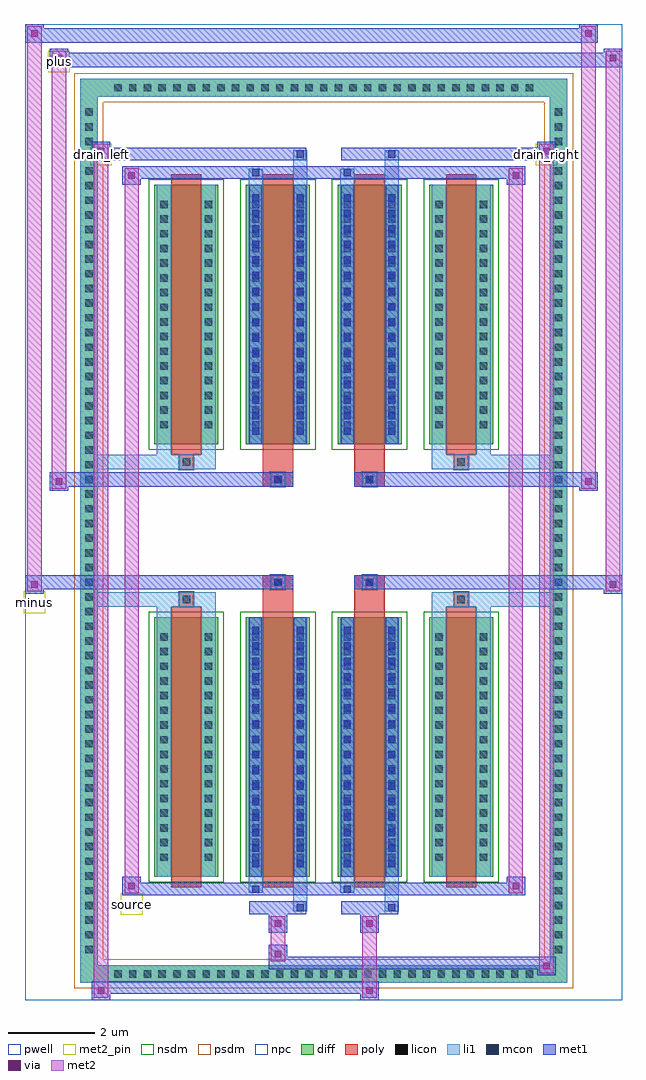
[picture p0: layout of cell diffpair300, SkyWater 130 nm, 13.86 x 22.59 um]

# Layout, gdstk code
import gdstk
lib = gdstk.Library(unit=1e-6, precision=5e-09)
def R(c, l, rs):  # rectangles x0, y0, x1, y1
    for r in rs: c.add(gdstk.rectangle(r[:2], r[2:], *l))
def A(c, l, x, y, w, h, nx, ny, dx, dy):  # array of equal rectangles
    R(c, l, [(x+i*dx, y+j*dy, x+i*dx+w, y+j*dy+h) for i in range(nx) for j in range(ny)])
def P(c, l, *ps):  # polygons
    for p in ps: c.add(gdstk.Polygon(p, *l))
pwell = (64, 44)
diff = (65, 20)
poly = (66, 20)
licon = (66, 44)
li1 = (67, 20)
mcon = (67, 44)
met1 = (68, 20)
via = (68, 44)
met2_pin = (69, 16)
met2 = (69, 20)
nsdm = (93, 44)
psdm = (94, 20)
npc = (95, 20)

diffpair300 = lib.new_cell('diffpair300')
R(diffpair300, pwell, [(-6.91,-10.86,6.91,11.73), (-4.23,-9.05,-0.01,-0.825), (0.01,-9.05,4.23,-0.825), (-4.23,0.825,-0.01,9.05), (0.01,0.825,4.23,9.05)])
A(diffpair300, diff, -4.965, -10.46, 0.41, 0.41, 29, 2, 0.34, 20.51)
A(diffpair300, diff, -5.64, -9.895, 0.41, 0.41, 1, 58, 0, 0.34)
A(diffpair300, diff, 5.23, -9.895, 0.41, 0.41, 1, 58, 0, 0.34)
A(diffpair300, diff, -3.92, -8.005, 1.48, 6, 4, 2, 2.12, 10.01)
R(diffpair300, diff, [(-4.965,-10.46,4.965,-10.05), (-5.64,-9.895,-5.23,9.895), (5.23,-9.895,5.64,9.895), (-4.965,10.05,4.965,10.46)])
P(diffpair300, diff, [(5.64,10.46),(-5.64,10.46),(-5.64,-10.05),(-5.23,-10.05),(-5.23,10.05),(5.23,10.05),(5.23,-10.05),(-5.23,-10.05),(-5.64,-10.05),(-5.64,-10.46),(5.64,-10.46)])
A(diffpair300, poly, -3.53, -8.255, 0.7, 6.5, 4, 2, 2.12, 10.01)
R(diffpair300, poly, [(-3.345,-1.755,-3.015,-1.425), (-3.345,-1.755,-3.015,-1.425), (-1.41,-1.755,-0.71,-1.355), (0.71,-1.755,1.41,-1.355), (3.015,-1.755,3.345,-1.425), (3.015,-1.755,3.345,-1.425), (-1.41,-1.355,-0.71,-1.025), (-1.225,-1.355,-0.895,-1.025), (0.71,-1.355,1.41,-1.025), (0.895,-1.355,1.225,-1.025), (-1.41,1.025,-0.71,1.355), (-1.225,1.025,-0.895,1.355), (0.71,1.025,1.41,1.355), (0.895,1.025,1.225,1.355), (-1.41,1.355,-0.71,1.755), (0.71,1.355,1.41,1.755), (-3.345,1.425,-3.015,1.755), (-3.345,1.425,-3.015,1.755), (3.015,1.425,3.345,1.755), (3.015,1.425,3.345,1.755)])
A(diffpair300, licon, -4.845, -10.34, 0.17, 0.17, 29, 2, 0.34, 20.51)
A(diffpair300, licon, -5.52, -9.775, 0.17, 0.17, 1, 58, 0, 0.34)
A(diffpair300, licon, 5.35, -9.775, 0.17, 0.17, 1, 58, 0, 0.34)
A(diffpair300, licon, -3.78, -7.64, 0.17, 0.17, 1, 16, 0, 0.34)
A(diffpair300, licon, -2.75, -7.64, 0.17, 0.17, 1, 16, 0, 0.34)
A(diffpair300, licon, -1.66, -7.64, 0.17, 0.17, 1, 16, 0, 0.34)
A(diffpair300, licon, -0.63, -7.64, 0.17, 0.17, 1, 16, 0, 0.34)
A(diffpair300, licon, 0.46, -7.64, 0.17, 0.17, 1, 16, 0, 0.34)
A(diffpair300, licon, 1.49, -7.64, 0.17, 0.17, 1, 16, 0, 0.34)
A(diffpair300, licon, 2.58, -7.64, 0.17, 0.17, 1, 16, 0, 0.34)
A(diffpair300, licon, 3.61, -7.64, 0.17, 0.17, 1, 16, 0, 0.34)
A(diffpair300, licon, -3.78, 2.37, 0.17, 0.17, 1, 16, 0, 0.34)
A(diffpair300, licon, -2.75, 2.37, 0.17, 0.17, 1, 16, 0, 0.34)
A(diffpair300, licon, -1.66, 2.37, 0.17, 0.17, 1, 16, 0, 0.34)
A(diffpair300, licon, -0.63, 2.37, 0.17, 0.17, 1, 16, 0, 0.34)
A(diffpair300, licon, 0.46, 2.37, 0.17, 0.17, 1, 16, 0, 0.34)
A(diffpair300, licon, 1.49, 2.37, 0.17, 0.17, 1, 16, 0, 0.34)
A(diffpair300, licon, 2.58, 2.37, 0.17, 0.17, 1, 16, 0, 0.34)
A(diffpair300, licon, 3.61, 2.37, 0.17, 0.17, 1, 16, 0, 0.34)
R(diffpair300, licon, [(-3.265,-1.675,-3.095,-1.505), (3.095,-1.675,3.265,-1.505), (-1.145,-1.275,-0.975,-1.105), (0.975,-1.275,1.145,-1.105), (-1.145,1.105,-0.975,1.275), (0.975,1.105,1.145,1.275), (-3.265,1.505,-3.095,1.675), (3.095,1.505,3.265,1.675)])
A(diffpair300, li1, -4.925, -10.42, 0.33, 0.33, 29, 2, 0.34, 20.51)
A(diffpair300, li1, -5.6, -9.855, 0.33, 0.33, 1, 58, 0, 0.34)
A(diffpair300, li1, 5.27, -9.855, 0.33, 0.33, 1, 58, 0, 0.34)
A(diffpair300, li1, -1.66, -7.79, 0.17, 0.17, 1, 16, 0, 0.36)
A(diffpair300, li1, -0.63, -7.79, 0.17, 0.17, 1, 16, 0, 0.36)
A(diffpair300, li1, 0.46, -7.79, 0.17, 0.17, 1, 16, 0, 0.36)
A(diffpair300, li1, 1.49, -7.79, 0.17, 0.17, 1, 16, 0, 0.36)
A(diffpair300, li1, -3.86, -7.72, 0.33, 0.33, 1, 16, 0, 0.34)
A(diffpair300, li1, -2.83, -7.72, 0.33, 0.33, 1, 16, 0, 0.34)
A(diffpair300, li1, -1.74, -7.72, 0.33, 0.33, 1, 16, 0, 0.34)
A(diffpair300, li1, -0.71, -7.72, 0.33, 0.33, 1, 16, 0, 0.34)
A(diffpair300, li1, 0.38, -7.72, 0.33, 0.33, 1, 16, 0, 0.34)
A(diffpair300, li1, 1.41, -7.72, 0.33, 0.33, 1, 16, 0, 0.34)
A(diffpair300, li1, 2.5, -7.72, 0.33, 0.33, 1, 16, 0, 0.34)
A(diffpair300, li1, 3.53, -7.72, 0.33, 0.33, 1, 16, 0, 0.34)
A(diffpair300, li1, -1.66, 2.22, 0.17, 0.17, 1, 16, 0, 0.36)
A(diffpair300, li1, -0.63, 2.22, 0.17, 0.17, 1, 16, 0, 0.36)
A(diffpair300, li1, 0.46, 2.22, 0.17, 0.17, 1, 16, 0, 0.36)
A(diffpair300, li1, 1.49, 2.22, 0.17, 0.17, 1, 16, 0, 0.36)
A(diffpair300, li1, -3.86, 2.29, 0.33, 0.33, 1, 16, 0, 0.34)
A(diffpair300, li1, -2.83, 2.29, 0.33, 0.33, 1, 16, 0, 0.34)
A(diffpair300, li1, -1.74, 2.29, 0.33, 0.33, 1, 16, 0, 0.34)
A(diffpair300, li1, -0.71, 2.29, 0.33, 0.33, 1, 16, 0, 0.34)
A(diffpair300, li1, 0.38, 2.29, 0.33, 0.33, 1, 16, 0, 0.34)
A(diffpair300, li1, 1.41, 2.29, 0.33, 0.33, 1, 16, 0, 0.34)
A(diffpair300, li1, 2.5, 2.29, 0.33, 0.33, 1, 16, 0, 0.34)
A(diffpair300, li1, 3.53, 2.29, 0.33, 0.33, 1, 16, 0, 0.34)
R(diffpair300, li1, [(-5.64,-10.46,-5.23,-10.05), (-5.64,-10.46,-5.23,-10.05), (-5.23,-10.46,5.23,-10.05), (5.23,-10.46,5.64,-10.05), (5.23,-10.46,5.64,-10.05), (-5.64,-10.05,-5.23,10.05), (5.23,-10.05,5.64,10.05), (-0.71,-8.81,-0.38,-8.005), (-0.63,-8.81,-0.46,-8.64), (1.41,-8.81,1.74,-8.005), (1.49,-8.81,1.66,-8.64), (-1.74,-8.38,-1.41,-8.005), (-1.66,-8.38,-1.49,-8.21), (0.38,-8.38,0.71,-8.005), (0.46,-8.38,0.63,-8.21), (-3.86,-8.005,-3.53,-2.005), (-2.83,-8.005,-2.5,-2.005), (-1.74,-8.005,-1.41,-2.005), (-0.71,-8.005,-0.38,-2.005), (0.38,-8.005,0.71,-2.005), (1.41,-8.005,1.74,-2.005), (2.5,-8.005,2.83,-2.005), (3.53,-8.005,3.86,-2.005), (-1.66,-7.79,-1.49,-2.22), (-0.63,-7.79,-0.46,-2.22), (0.46,-7.79,0.63,-2.22), (1.49,-7.79,1.66,-2.22), (-3.86,-2.005,-3.53,-1.425), (-2.83,-2.005,-2.5,-1.425), (2.5,-2.005,2.83,-1.425), (3.53,-2.005,3.86,-1.425), (-5.64,-1.755,-3.345,-1.425), (-3.86,-1.755,-3.345,-1.425), (-3.345,-1.755,-3.015,-1.425), (-3.015,-1.755,-2.5,-1.425), (2.5,-1.755,3.015,-1.425), (3.015,-1.755,3.345,-1.425), (3.015,-1.755,5.64,-1.425), (3.345,-1.755,3.86,-1.425), (-1.225,-1.355,-0.895,-1.025), (0.895,-1.355,1.225,-1.025), (-1.225,1.025,-0.895,1.355), (0.895,1.025,1.225,1.355), (-5.64,1.425,-3.345,1.755), (-3.86,1.425,-3.345,1.755), (-3.86,1.425,-3.53,2.005), (-3.345,1.425,-3.015,1.755), (-3.015,1.425,-2.5,1.755), (-2.83,1.425,-2.5,2.005), (2.5,1.425,3.015,1.755), (2.5,1.425,2.83,2.005), (3.015,1.425,3.345,1.755), (3.015,1.425,5.64,1.755), (3.345,1.425,3.86,1.755), (3.53,1.425,3.86,2.005), (-3.86,2.005,-3.53,8.005), (-2.83,2.005,-2.5,8.005), (-1.74,2.005,-1.41,8.005), (-0.71,2.005,-0.38,8.005), (0.38,2.005,0.71,8.005), (1.41,2.005,1.74,8.005), (2.5,2.005,2.83,8.005), (3.53,2.005,3.86,8.005), (-1.66,2.22,-1.49,7.79), (-0.63,2.22,-0.46,7.79), (0.46,2.22,0.63,7.79), (1.49,2.22,1.66,7.79), (-1.74,8.005,-1.41,8.38), (-0.71,8.005,-0.38,8.81), (0.38,8.005,0.71,8.38), (1.41,8.005,1.74,8.81), (-1.66,8.21,-1.49,8.38), (0.46,8.21,0.63,8.38), (-0.63,8.64,-0.46,8.81), (1.49,8.64,1.66,8.81), (-5.64,10.05,-5.23,10.46), (-5.64,10.05,-5.23,10.46), (-5.23,10.05,5.23,10.46), (5.23,10.05,5.64,10.46), (5.23,10.05,5.64,10.46)])
A(diffpair300, mcon, -1.66, -7.79, 0.17, 0.17, 1, 16, 0, 0.36)
A(diffpair300, mcon, -0.63, -7.79, 0.17, 0.17, 1, 16, 0, 0.36)
A(diffpair300, mcon, 0.46, -7.79, 0.17, 0.17, 1, 16, 0, 0.36)
A(diffpair300, mcon, 1.49, -7.79, 0.17, 0.17, 1, 16, 0, 0.36)
A(diffpair300, mcon, -1.66, 2.22, 0.17, 0.17, 1, 16, 0, 0.36)
A(diffpair300, mcon, -0.63, 2.22, 0.17, 0.17, 1, 16, 0, 0.36)
A(diffpair300, mcon, 0.46, 2.22, 0.17, 0.17, 1, 16, 0, 0.36)
A(diffpair300, mcon, 1.49, 2.22, 0.17, 0.17, 1, 16, 0, 0.36)
R(diffpair300, mcon, [(-0.63,-8.81,-0.46,-8.64), (1.49,-8.81,1.66,-8.64), (-1.66,-8.38,-1.49,-8.21), (0.46,-8.38,0.63,-8.21), (-1.145,-1.275,-0.975,-1.105), (0.975,-1.275,1.145,-1.105), (-1.145,1.105,-0.975,1.275), (0.975,1.105,1.145,1.275), (-1.66,8.21,-1.49,8.38), (0.46,8.21,0.63,8.38), (-0.63,8.64,-0.46,8.81), (1.49,8.64,1.66,8.81)])
A(diffpair300, met1, -1.72, -7.85, 0.29, 0.29, 1, 16, 0, 0.36)
A(diffpair300, met1, -0.69, -7.85, 0.29, 0.29, 1, 16, 0, 0.36)
A(diffpair300, met1, 0.4, -7.85, 0.29, 0.29, 1, 16, 0, 0.36)
A(diffpair300, met1, 1.43, -7.85, 0.29, 0.29, 1, 16, 0, 0.36)
A(diffpair300, met1, -1.72, 2.16, 0.29, 0.29, 1, 16, 0, 0.36)
A(diffpair300, met1, -0.69, 2.16, 0.29, 0.29, 1, 16, 0, 0.36)
A(diffpair300, met1, 0.4, 2.16, 0.29, 0.29, 1, 16, 0, 0.36)
A(diffpair300, met1, 1.43, 2.16, 0.29, 0.29, 1, 16, 0, 0.36)
R(diffpair300, met1, [(-5.37,-10.86,-4.94,-10.43), (0.845,-10.86,1.275,-10.43), (-5.37,-10.72,1.275,-10.43), (4.94,-10.29,5.37,-9.86), (-1.275,-10.15,5.37,-9.86), (-1.275,-10.01,-0.845,-9.58), (-1.275,-9.3,-0.845,-8.87), (0.845,-9.3,1.275,-8.87), (-1.72,-8.87,-0.4,-8.58), (-0.69,-8.87,-0.4,-8.58), (0.4,-8.87,1.72,-8.58), (1.43,-8.87,1.72,-8.58), (-4.66,-8.44,-4.23,-8.01), (-4.66,-8.44,-1.72,-8.15), (-1.72,-8.44,-1.43,-8.15), (-1.72,-8.44,-0.4,-8.15), (-0.4,-8.44,0.4,-8.15), (0.4,-8.44,0.69,-8.15), (0.4,-8.44,1.72,-8.15), (1.72,-8.44,4.66,-8.15), (4.23,-8.44,4.66,-8.01), (-1.72,-8.005,-1.43,-2.005), (-0.69,-8.005,-0.4,-2.005), (0.4,-8.005,0.69,-2.005), (1.43,-8.005,1.72,-2.005), (-6.91,-1.455,-6.48,-1.025), (6.48,-1.455,6.91,-1.025), (-6.91,-1.355,-0.71,-1.025), (-1.41,-1.355,-0.71,-1.025), (0.71,-1.355,1.41,-1.025), (0.71,-1.355,6.91,-1.025), (-1.205,-1.335,-0.915,-1.045), (0.915,-1.335,1.205,-1.045), (-6.34,0.925,-5.91,1.355), (5.91,0.925,6.34,1.355), (-6.34,1.025,-1.41,1.355), (-1.41,1.025,-0.71,1.355), (0.71,1.025,1.41,1.355), (1.41,1.025,6.34,1.355), (-1.205,1.045,-0.915,1.335), (0.915,1.045,1.205,1.335), (-1.72,2.005,-1.43,8.005), (-0.69,2.005,-0.4,8.005), (0.4,2.005,0.69,8.005), (1.43,2.005,1.72,8.005), (-4.66,8.01,-4.23,8.44), (4.23,8.01,4.66,8.44), (-4.66,8.15,-1.72,8.44), (-1.72,8.15,-1.43,8.44), (-1.72,8.15,-0.4,8.44), (-0.4,8.15,0.4,8.44), (0.4,8.15,0.69,8.44), (0.4,8.15,1.72,8.44), (1.72,8.15,4.66,8.44), (-5.37,8.58,-4.94,9.01), (-5.37,8.58,-1.72,8.87), (-1.72,8.58,-0.4,8.87), (-0.69,8.58,-0.4,8.87), (0.4,8.58,1.72,8.87), (1.43,8.58,1.72,8.87), (1.72,8.58,5.37,8.87), (4.94,8.58,5.37,9.01), (-6.34,10.73,-5.91,11.16), (-6.34,10.73,-4.23,11.06), (-4.23,10.73,4.23,11.06), (4.23,10.73,6.91,11.06), (6.48,10.73,6.91,11.16), (-6.91,11.3,-6.48,11.73), (-6.91,11.3,-4.23,11.63), (-4.23,11.3,4.23,11.63), (4.23,11.3,6.34,11.63), (5.91,11.3,6.34,11.73)])
R(diffpair300, via, [(-5.23,-10.72,-5.08,-10.57), (0.985,-10.72,1.135,-10.57), (5.08,-10.15,5.23,-10), (-1.135,-9.87,-0.985,-9.72), (-1.135,-9.16,-0.985,-9.01), (0.985,-9.16,1.135,-9.01), (-4.52,-8.3,-4.37,-8.15), (4.37,-8.3,4.52,-8.15), (-6.77,-1.315,-6.62,-1.165), (6.62,-1.315,6.77,-1.165), (-6.2,1.065,-6.05,1.215), (6.05,1.065,6.2,1.215), (-4.52,8.15,-4.37,8.3), (4.37,8.15,4.52,8.3), (-5.23,8.72,-5.08,8.87), (5.08,8.72,5.23,8.87), (-6.2,10.87,-6.05,11.02), (6.62,10.87,6.77,11.02), (-6.77,11.44,-6.62,11.59), (6.05,11.44,6.2,11.59)])
R(diffpair300, met2_pin, [(-4.695,-8.89,-4.195,-8.39), (-6.945,-1.905,-6.445,-1.405), (-5.405,8.46,-4.905,8.96), (4.905,8.46,5.405,8.96), (-6.375,10.61,-5.875,11.11)])
R(diffpair300, met2, [(-5.32,-10.81,-4.99,-10.48), (-5.32,-10.81,-4.99,8.96), (0.895,-10.81,1.225,-10.48), (0.895,-10.48,1.225,-9.25), (4.99,-10.24,5.32,-9.91), (4.99,-10.24,5.32,8.96), (-1.225,-9.96,-0.895,-9.63), (-1.225,-9.63,-0.895,-9.25), (-1.225,-9.25,-0.895,-8.92), (0.895,-9.25,1.225,-8.92), (-4.61,-8.39,-4.28,-8.06), (-4.61,-8.39,-4.28,8.39), (4.28,-8.39,4.61,-8.06), (4.28,-8.39,4.61,8.39), (-6.86,-1.405,-6.53,-1.075), (-6.86,-1.405,-6.53,11.68), (6.53,-1.405,6.86,-1.075), (6.53,-1.405,6.86,11.11), (-6.29,0.975,-5.96,1.305), (-6.29,0.975,-5.96,11.11), (5.96,0.975,6.29,1.305), (5.96,0.975,6.29,11.68), (-4.61,8.06,-4.28,8.39), (4.28,8.06,4.61,8.39), (-5.32,8.63,-4.99,8.96), (4.99,8.63,5.32,8.96), (-6.29,10.78,-5.96,11.11), (6.53,10.78,6.86,11.11), (-6.86,11.35,-6.53,11.68), (5.96,11.35,6.29,11.68)])
P(diffpair300, met2, [(6.86,-1.405),(6.86,-1.405),(6.86,-1.075),(6.86,-1.075)],
  [(6.86,10.78),(6.86,10.78),(6.86,11.11),(6.86,11.11)],
  [(-6.53,-1.405),(-6.53,-1.405),(-6.53,-1.075),(-6.53,-1.075)],
  [(-6.53,11.35),(-6.53,11.35),(-6.53,11.68),(-6.53,11.68)],
  [(6.29,0.975),(6.29,0.975),(6.29,1.305),(6.29,1.305)],
  [(6.29,11.35),(6.29,11.35),(6.29,11.68),(6.29,11.68)],
  [(-5.96,0.975),(-5.96,0.975),(-5.96,1.305),(-5.96,1.305)],
  [(-5.96,10.78),(-5.96,10.78),(-5.96,11.11),(-5.96,11.11)],
  [(-4.99,-10.81),(-4.99,-10.81),(-4.99,-10.48),(-4.99,-10.48)],
  [(-4.99,8.63),(-4.99,8.63),(-4.99,8.96),(-4.99,8.96)],
  [(5.32,-10.24),(5.32,-10.24),(5.32,-9.91),(5.32,-9.91)],
  [(5.32,8.63),(5.32,8.63),(5.32,8.96),(5.32,8.96)],
  [(-4.28,-8.39),(-4.28,-8.39),(-4.28,-8.06),(-4.28,-8.06)],
  [(-4.28,8.06),(-4.28,8.06),(-4.28,8.39),(-4.28,8.39)],
  [(4.61,-8.39),(4.61,-8.39),(4.61,-8.06),(4.61,-8.06)],
  [(4.61,8.06),(4.61,8.06),(4.61,8.39),(4.61,8.39)])
A(diffpair300, nsdm, -4.05, -8.135, 1.74, 6.26, 4, 2, 2.12, 10.01)
P(diffpair300, psdm, [(5.77,10.59),(-5.77,10.59),(-5.77,-9.92),(-5.1,-9.92),(-5.1,9.92),(5.1,9.92),(5.1,-9.92),(-5.1,-9.92),(-5.77,-9.92),(-5.77,-10.59),(5.77,-10.59)])
R(diffpair300, npc, [(-3.365,-1.775,-2.995,-1.405), (2.995,-1.775,3.365,-1.405), (-1.245,-1.375,-0.875,-1.005), (0.875,-1.375,1.245,-1.005), (-1.245,1.005,-0.875,1.375), (0.875,1.005,1.245,1.375), (-3.365,1.405,-2.995,1.775), (2.995,1.405,3.365,1.775)])
diffpair300.add(gdstk.Label('minus', (-6.695,-1.655), layer=69, texttype=5))
diffpair300.add(gdstk.Label('drain_right', (5.155,8.71), layer=69, texttype=5))
diffpair300.add(gdstk.Label('drain_left', (-5.155,8.71), layer=69, texttype=5))
diffpair300.add(gdstk.Label('source', (-4.445,-8.64), layer=69, texttype=5))
diffpair300.add(gdstk.Label('plus', (-6.125,10.86), layer=69, texttype=5))

lib.write_gds('diffpair300.gds')
